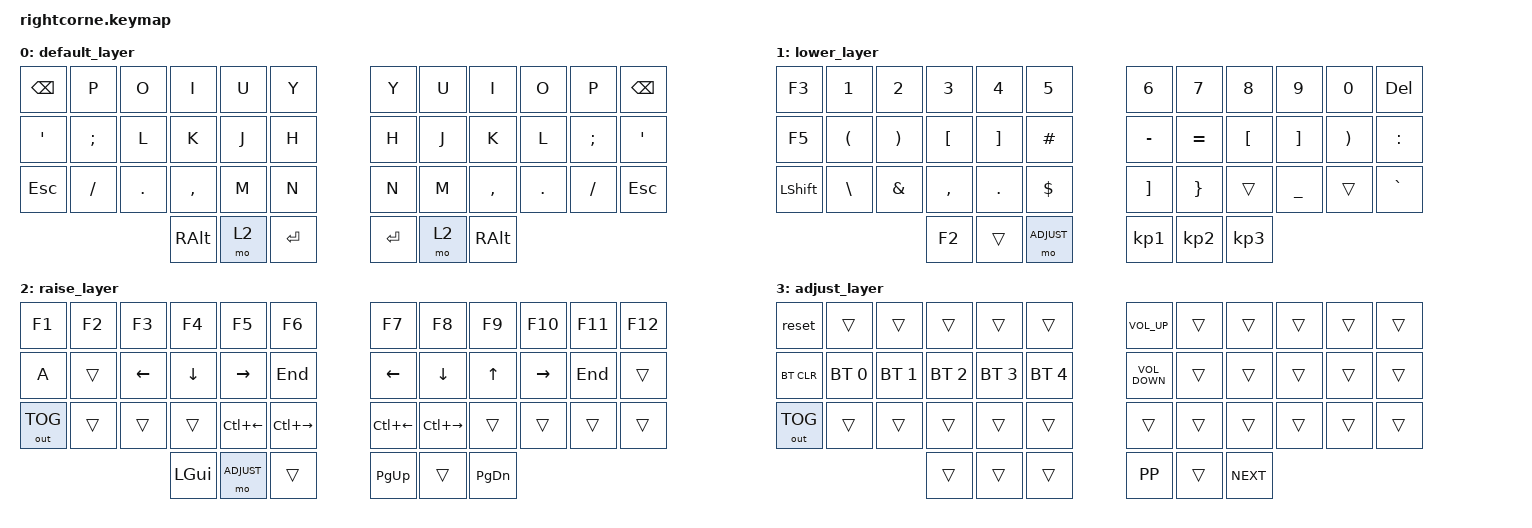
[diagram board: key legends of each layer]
/*
 * Copyright (c) 2020 The ZMK Contributors
 *
 * SPDX-License-Identifier: MIT
 * To use home rows - &hm LSHFT F
 */

#include <behaviors.dtsi>
#include <dt-bindings/zmk/keys.h>
#include <dt-bindings/zmk/bt.h>
#include <dt-bindings/zmk/outputs.h>

#define QWERTY 0
#define NUMB 1
#define NAVI 2
#define ADJUST 3

/ {

    behaviors {        
        hm: homerow_mods {
        compatible = "zmk,behavior-hold-tap";
        label = "HOMEROW_MODS";
        #binding-cells = <2>;
        tapping-term-ms = <150>;
        quick_tap_ms = <0>;
        flavor = "tap-preferred";
        bindings = <&kp>, <&kp>;
        };
    };

        keymap {
                compatible = "zmk,keymap";

                default_layer {
// .--------------------------------------------------------------.       .-----------------------------------------------------------.
// |   TAB        |    Q    |    W   |   E    |    R    |    T    |       |   Y   |    U    |    I    |    O    |     P    |   BKSP   |
// |--------------+---------+--------+--------+---------+---------|       |-------+---------+---------+---------+----------+----------|
// |   LCTRL      |    A    |    S   |   D    |    F    |    G    |       |   H   |    J    |    K    |    L    |     ;    |     '    |
// |--------------+---------+--------+--------+---------+---------|       |-------+---------+---------+---------+----------+----------|
// |   LSHFT      |    Z    |    X   |   C    |    V    |    B    |       |   N   |    M    |    ,    |    .    |     /    |   ESC    |
// '---------------------------------+--------+---------+---------+       |-------+---------+---------+-------------------------------'
//                                   |  LALT  |   MO1   |   SPC   |       |  ENT  |   MO2   |  RALT   |
//                                   '--------+---------+---------'       '-------+---------+---------'
                        bindings = <
   &kp BSPC        &kp P       &kp O      &kp I     &kp U           &kp Y   &kp Y  &kp U           &kp I        &kp O     &kp P      &kp BSPC
   &kp SQT      &kp SEMI       &kp L      &kp K     &kp J           &kp H   &kp H  &kp J           &kp K        &kp L     &kp SEMI   &kp SQT
   &kp ESC      &kp FSLH       &kp DOT      &kp COMMA     &kp M           &kp N   &kp N  &kp M           &kp COMMA    &kp DOT   &kp FSLH   &kp ESC
                  &kp RALT    &mo 2       &kp ENTER                 &kp ENTER      &mo 2           &kp RALT
                        >;
                };
                
                lower_layer {
// .--------------------------------------------------------------.       .-----------------------------------------------------------.
// |    F3     |     1    |     2    |    3   |    4    |    5    |       |   6   |    7    |    8    |    9    |     0    |    `     |
// |--------------+---------+--------+--------+---------+---------|       |-------+---------+---------+---------+----------+----------|
// |    F5     |     (    |     )    |    {   |    }    |    #    |       |   -   |    =    |    [    |    ]    |     {    |    }     |
// |--------------+---------+--------+--------+---------+---------|       |-------+---------+---------+---------+----------+----------|
// |   SHFT    |     \    |     &    |    ,   |    .    |    $    |       |   ]   |    }    |         |    _    |          |          |
// '---------------------------------+--------+---------+---------+       |-------+---------+---------+-------------------------------'
//                                   |    F2  |         |   MO3   |       |   ,   |    .    |   ?     |
//                                   '--------+---------+---------'       '-------+---------+---------'
                        bindings = <
   &kp F3     &kp N1         &kp N2            &kp N3             &kp N4               &kp N5            &kp N6                   &kp N7             &kp N8                 &kp N9                   &kp N0     &kp DEL
   &kp F5     &kp LPAR       &kp RPAR          &kp LBKT           &kp RBKT             &kp HASH          &kp MINUS                &kp EQUAL          &kp LEFT_BRACKET       &kp RIGHT_BRACKET        &kp RPAR   &kp COLON
   &kp LSHFT  &kp BSLH       &kp AMPS          &kp COMMA          &kp DOT              &kp DLLR          &kp RIGHT_BRACKET        &kp RIGHT_BRACE    &trans                 &kp UNDERSCORE           &trans     &kp GRAVE
                                               &kp F2             &trans               &mo ADJUST        &kp KP_N1                &kp KP_N2          &kp KP_N3
                        >;
                };
                
                raise_layer {
// .-------------------------------------------------------.        .----------.------------------------------------------.
// |  F1  |   F2  |   F3   |    F4   |    F5    |   F6     |        |   F7     |    F8    |    F9   |   F10   | F11 | F12 |
// |----------------+-------+--------+--------+----------+-|        |----------+----------+---------+---------+-----+-----|
// |      |       |  LEFT  |   DOWN  |   RIGHT  |   END    |        |  LEFT    |   DOWN   |    UP   |  RIGHT  |     |     |
// |----------------+-------+--------+--------+------------|        |----------+----------+---------+---------+-----+-----|
// |      |       |        |         |CTRL+LEFT |CTRL+RIGHT|        |CTRL+LEFT |CTRL+RIGHT|         |         |     |     |
// '---------------------------------+--------+------------|        |----------+----------+---------+---------+-----+-----'
//                         |  GUI    |    MO3   |          |        |          |          |         |
//                         '---------+----------+----------'        '----------+----------+---------'

                        bindings = <
   &kp F1          &kp F2     &kp F3             &kp F4            &kp F5              &kp F6                    &kp F7               &kp F8                  &kp F9           &kp F10            &kp F11      &kp F12
   &kp A           &trans     &kp LEFT_ARROW     &kp DOWN_ARROW    &kp RIGHT_ARROW     &kp END                   &kp LEFT_ARROW       &kp DOWN_ARROW          &kp UP_ARROW     &kp RIGHT_ARROW    &kp END      &trans
   &out OUT_TOG    &trans     &trans             &trans            &kp LC(LEFT_ARROW)  &kp LC(RIGHT_ARROW)       &kp LC(LEFT_ARROW)   &kp LC(RIGHT_ARROW)     &trans           &trans             &trans       &trans
                                                 &kp LGUI          &mo ADJUST          &trans                    &kp PAGE_UP  &trans  &kp PAGE_DOWN
                        >;
                };
// OUT_TOG - перереключение между Bluetooth и USB 

                adjust_layer {
// .--------------------------------------------------------.       .--------------------------------------------------------------.
// |         |        |        |        |         |         |       |  VOL+  |        |         |         |          |             |
// |---------+--------+--------+--------+---------+---------|       |--------+--------+---------+---------+----------+-------------|
// |  BTCLR  |  BT1   |  BT2   |  BT3   |  BT4    |  BT5    |       |  VOL-  |        |         |         |          |             |
// |---------+--------+--------+--------+---------+---------|       |--------+--------+---------+---------+----------+-------------|
// | OUT_TOG |        |        |        |         |         |       |        |        |         |         |          |             |
// '---------------------------+--------+---------+---------+       |--------+--------+---------+----------------------------------'
//                             |        |         |         |       | > / || |        |    >>   |
//                             '--------+---------+---------'       '--------+--------+---------'

                        bindings = <
   &reset       &trans          &trans         &trans          &trans          &trans            &kp C_VOLUME_UP    &trans &trans  &trans &trans &trans
   &bt BT_CLR   &bt BT_SEL 0    &bt BT_SEL 1   &bt BT_SEL 2    &bt BT_SEL 3    &bt BT_SEL 4      &kp C_VOLUME_DOWN  &trans &trans  &trans &trans &trans
   &out OUT_TOG &trans          &trans         &trans          &trans          &trans            &trans             &trans &trans  &trans &trans &trans
                                               &trans          &trans          &trans            &kp K_PP           &trans &kp C_NEXT
                        >;
                };
        };
};
